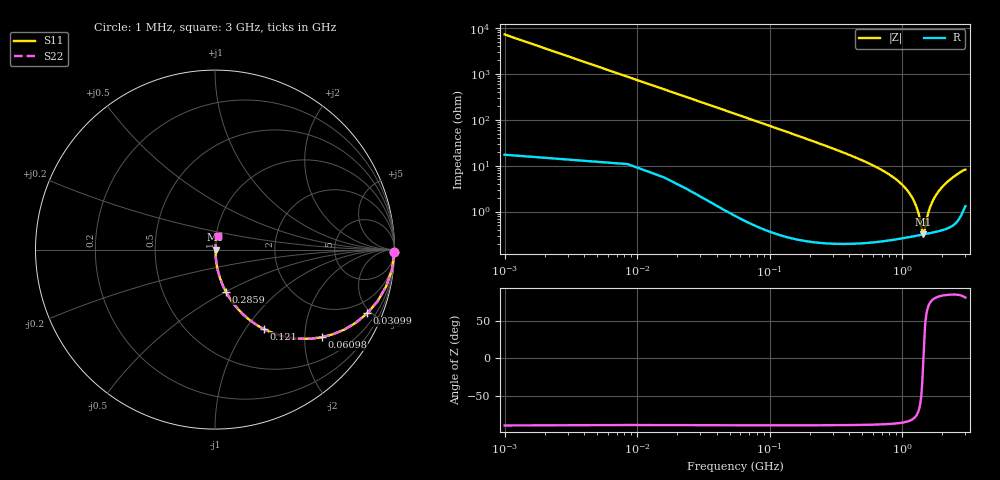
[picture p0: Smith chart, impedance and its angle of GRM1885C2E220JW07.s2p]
!Murata Part Number: GRM1885C2E220JW07
!These Parameters are Measured in Series Mode Connection
!Data Generated on Mar 30, 2021
!  o--ll--o
!Port1  Port2
!  o------o
!Operation Temp=25[degC], DC Bias Voltage=0[V]
!Freq. Start=1000[kHz] Stop=3[GHz] 401[Steps]
# Hz S RI R 50
!Freq.(Hz) S11(Real) S11(Imag) S21(Real) S21(Imag) S12(Real) S12(Imag) S22(Real) S22(Imag)
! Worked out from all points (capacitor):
!   401 points, 1 MHz to 3 GHz, reference 50 ohm
!   read as one part in series: C = 21.5 pF near 15.99 MHz
!   lowest |Z| = 317 mohm at 1.448 GHz (marker M1)
!   series resonance near 1.445 GHz, so ESL is about 560 pH
!   S11 on the Smith chart (normalised r, x): 1 MHz: open; 30.99 MHz: 1.04, -4.77; 60.98 MHz: 1.01, -2.43; 121 MHz: 1.01, -1.22; 285.9 MHz: 1.00, -0.50; 3 GHz: 1.03, +0.16
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1000000  0.9998 -0.0138  0.000224 0.0138  0.000224 0.0138  0.9998 -0.0138
2.34925e7  0.9058 -0.2872  0.0942 0.2872  0.0942 0.2872  0.9058 -0.2872
3.099e7  0.8486 -0.3543  0.1514 0.3543  0.1514 0.3543  0.8486 -0.3543
6.098e7  0.5951 -0.4881  0.4049 0.4881  0.4049 0.4881  0.5951 -0.4881
9.097e7  0.3979 -0.487  0.6021 0.487  0.6021 0.487  0.3979 -0.487
1.2096e8  0.2715 -0.4423  0.7285 0.4423  0.7285 0.4423  0.2715 -0.4423
1.884375e8  0.1316 -0.3352  0.8684 0.3352  0.8684 0.3352  0.1316 -0.3352
2.85905e8  0.0601 -0.2337  0.9399 0.2337  0.9399 0.2337  0.0601 -0.2337
5.033325e8  0.0184 -0.1266  0.9816 0.1266  0.9816 0.1266  0.0184 -0.1266
1.005665e9  0.00402 -0.0376  0.996 0.0376  0.996 0.0376  0.00402 -0.0376
1.148118e9  0.00334 -0.0235  0.9967 0.0235  0.9967 0.0235  0.00334 -0.0235
1.26058e9  0.00312 -0.0139  0.9969 0.0139  0.9969 0.0139  0.00312 -0.0139
1.343052e9  0.00308 -0.00744  0.9969 0.00744  0.9969 0.00744  0.00308 -0.00744
1.425525e9  0.00313 -0.0014  0.9969 0.0014  0.9969 0.0014  0.00313 -0.0014
1.448018e9  0.00316 0.000188  0.9968 -0.000188  0.9968 -0.000188  0.00316 0.000188
1.5005e9  0.00324 0.00379  0.9968 -0.00379  0.9968 -0.00379  0.00324 0.00379
1.575475e9  0.00339 0.00874  0.9966 -0.00874  0.9966 -0.00874  0.00339 0.00874
1.68044e9  0.00368 0.0153  0.9963 -0.0153  0.9963 -0.0153  0.00368 0.0153
1.822892e9  0.0042 0.0237  0.9958 -0.0237  0.9958 -0.0237  0.0042 0.0237
2.002832e9  0.00504 0.0337  0.995 -0.0337  0.995 -0.0337  0.00504 0.0337
2.505165e9  0.00887 0.0591  0.9911 -0.0591  0.9911 -0.0591  0.00887 0.0591
3e9  0.0192 0.0786  0.9808 -0.0786  0.9808 -0.0786  0.0192 0.0786
